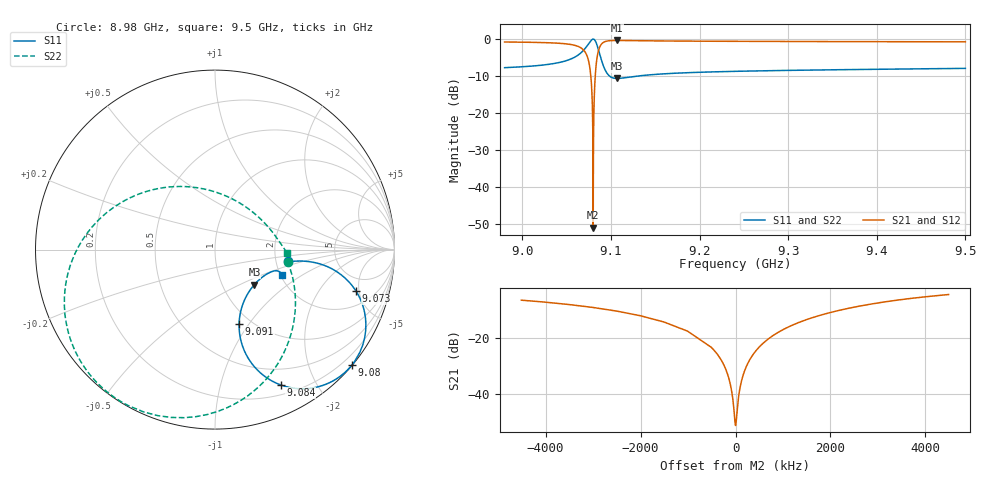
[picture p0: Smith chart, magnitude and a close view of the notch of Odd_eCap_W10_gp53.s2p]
! Sonnet Data File
! From: emgraph Version : 16.52
! From Project: Resonator2_extremeCap2
! Data is De-embedded
! Data File Written: 10/10/2017 13:11:38
!< HDATE 10/10/2017 08:28:44
!< MDATE 10/10/2017 08:28:44
!< PARAMS
!< Pwid1 = 2000.0
!< Pwid2 = 2000.0
!< Air_gap = 6.0
!< Width = 10.0
!< Gap = 53.0
!< END PARAMS
# GHZ S MA R 35.98000
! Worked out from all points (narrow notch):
!   1635 points, 8.98 GHz to 9.5 GHz, reference 35.98 ohm
!   highest |S21| = -0.39 dB at 9.107 GHz (marker M1); lowest = -50.9 dB at 9.08 GHz (marker M2)
!   notch at M2: 50.2 dB deep, 755 kHz wide at half that depth
!   lowest |S11| = -10.6 dB at 9.107 GHz (marker M3), VSWR 1.83, Z = 50.9 - j21.6 ohm
!   |S11| at or under -10 dB: 9.098376 GHz to 9.130351 GHz (31.97 MHz wide, 0.351 % of centre)
!   |S22| runs from -10.7 to 0.0 dB; largest |S21 - S12| = 0
!   S11 on the Smith chart (normalised r, x): 8.98 GHz: 2.32, -0.37; 9.073 GHz: 3.29, -4.66; 9.08 GHz: 0.01, -2.74; 9.084 GHz: 0.31, -1.55; 9.091 GHz: 0.88, -0.90; 9.5 GHz: 2.04, -0.69
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8.98  0.4102 -9.2  0.912 -99.3  0.912 -99.3  0.4102 -9.3
!< P1 F=8.98 Eeff=(5.37116343 -2.3769e-5) Z0=(35.9716001 8.05996e-5) R=0.0 C=0.0
!< P2 F=8.98 Eeff=(5.37116343 -2.3769e-5) Z0=(35.9716001 8.05996e-5) R=0.0 C=0.0
9.042  0.4828 -7.6  0.8757 -105.8  0.8757 -105.8  0.4827 -24.1
9.067  0.6642 -9.5  0.747 -120.9  0.747 -120.9  0.6638 -52.4
9.0735  0.8197 -16.4  0.5713 -135.5  0.5713 -135.5  0.8188 -74.9
9.0795  0.9957 -38.1  0.0678 -166.0  0.0678 -166.0  0.994 -118.6
9.0796  0.9965 -38.6  0.05484 -166.2  0.05484 -166.2  0.9948 -119.6
9.079856  0.9977 -40.0  0.02105 -163.5  0.02105 -163.5  0.996 -122.2
9.079936  0.9979 -40.5  0.01058 -156.3  0.01058 -156.3  0.9961 -123.1
9.080011  0.9979 -40.9  0.002835 -83.3  0.002835 -83.3  0.9962 -123.9
9.080089  0.9978 -41.4  0.0109 -8.2  0.0109 -8.2  0.9961 -124.7
9.080237  0.9974 -42.2  0.03084 0.4  0.03084 0.4  0.9956 -126.2
9.080827  0.9914 -45.7  0.1129 -0.7  0.1129 -0.7  0.9896 -132.6
9.082017  0.9578 -52.9  0.2797 -10.1  0.2797 -10.1  0.9558 -146.0
9.084154  0.8375 -64.2  0.5429 -27.4  0.5429 -27.4  0.8355 -169.9
9.08709  0.6383 -72.9  0.768 -46.1  0.768 -46.1  0.6366 161.0
9.0915  0.4339 -72.0  0.9002 -63.0  0.9002 -63.0  0.4325 126.2
9.107  0.2935 -41.5  0.9558 -82.6  0.9558 -82.6  0.2931 56.4
9.1535  0.335 -21.9  0.9422 -92.6  0.9422 -92.6  0.335 16.8
9.24  0.3661 -18.8  0.9306 -96.6  0.9306 -96.6  0.3661 5.6
9.327  0.381 -19.0  0.9246 -98.6  0.9246 -98.6  0.381 1.8
9.4135  0.3919 -19.7  0.92 -100.2  0.92 -100.2  0.3919 -0.6
9.5  0.4013 -20.7  0.9159 -101.6  0.9159 -101.6  0.4013 -2.5
